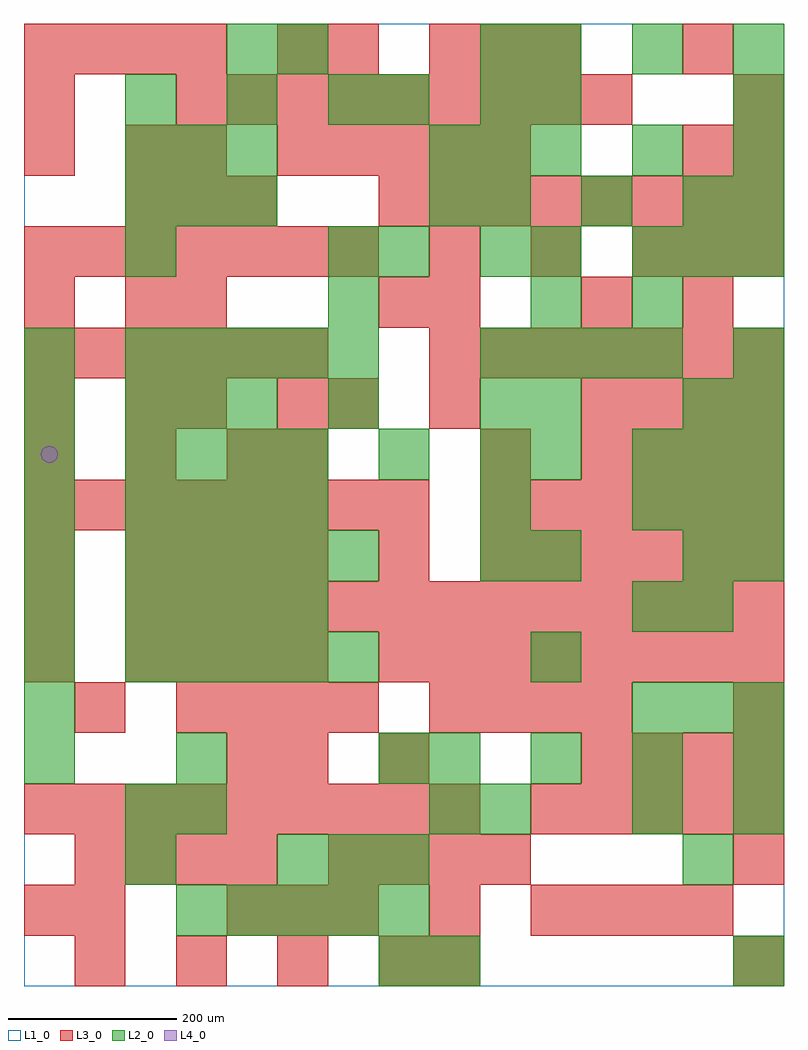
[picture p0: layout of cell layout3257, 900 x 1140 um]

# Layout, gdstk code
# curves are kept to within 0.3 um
import gdstk
lib = gdstk.Library(unit=1e-6, precision=1e-09)
def R(c, l, rs):  # rectangles x0, y0, x1, y1
    for r in rs: c.add(gdstk.rectangle(r[:2], r[2:], *l))
def A(c, l, x, y, w, h, nx, ny, dx, dy):  # array of equal rectangles
    R(c, l, [(x+i*dx, y+j*dy, x+i*dx+w, y+j*dy+h) for i in range(nx) for j in range(ny)])
def P(c, l, *ps):  # polygons
    for p in ps: c.add(gdstk.Polygon(p, *l))
L1_0 = (1, 0)
L2_0 = (2, 0)
L3_0 = (3, 0)
L4_0 = (4, 0)

layout3257 = lib.new_cell('layout3257')
R(layout3257, L1_0, [(0,0,900,1140)])
A(layout3257, L2_0, 180, 60, 60, 60, 5, 1, 60, 0)
A(layout3257, L2_0, 300, 120, 60, 60, 3, 1, 60, 0)
A(layout3257, L2_0, 0, 240, 60, 60, 1, 9, 0, 60)
A(layout3257, L2_0, 480, 240, 60, 60, 4, 1, 120, 0)
A(layout3257, L2_0, 720, 300, 60, 60, 3, 2, 60, 240)
A(layout3257, L2_0, 120, 360, 60, 60, 5, 2, 60, 120)
A(layout3257, L2_0, 600, 360, 60, 60, 1, 3, 0, 120)
A(layout3257, L2_0, 120, 420, 60, 60, 4, 2, 60, 120)
A(layout3257, L2_0, 540, 480, 60, 60, 1, 4, 0, 60)
A(layout3257, L2_0, 120, 600, 60, 60, 4, 1, 60, 0)
A(layout3257, L2_0, 720, 600, 60, 60, 3, 2, 60, 240)
A(layout3257, L2_0, 120, 660, 60, 60, 3, 2, 60, 240)
A(layout3257, L2_0, 120, 720, 60, 60, 5, 1, 60, 0)
A(layout3257, L2_0, 540, 720, 60, 60, 4, 1, 60, 0)
A(layout3257, L2_0, 540, 900, 60, 60, 3, 1, 120, 0)
A(layout3257, L2_0, 840, 900, 60, 60, 1, 3, 0, 60)
A(layout3257, L2_0, 120, 960, 60, 60, 3, 1, 60, 0)
A(layout3257, L2_0, 480, 960, 60, 60, 3, 1, 60, 0)
A(layout3257, L2_0, 120, 1020, 60, 60, 3, 1, 120, 0)
A(layout3257, L2_0, 600, 1080, 60, 60, 3, 1, 120, 0)
R(layout3257, L2_0, [(420,0,480,60), (480,0,540,60), (840,0,900,60), (120,120,180,180), (780,120,840,180), (120,180,180,240), (180,180,240,240), (480,180,540,240), (540,180,600,240), (720,180,780,240), (840,180,900,240), (180,240,240,300), (420,240,480,300), (720,420,780,480), (780,420,840,480), (780,480,840,540), (840,480,900,540), (420,600,480,660), (360,660,420,720), (600,660,660,720), (780,660,840,720), (840,660,900,720), (840,720,900,780), (360,780,420,840), (600,780,660,840), (720,780,780,840), (120,840,180,900), (360,840,420,900), (420,840,480,900), (540,840,600,900), (600,840,660,900), (480,900,540,960), (720,960,780,1020), (420,1020,480,1080), (540,1020,600,1080), (600,1020,660,1080), (240,1080,300,1140), (300,1080,360,1140), (540,1080,600,1140)])
A(layout3257, L3_0, 60, 0, 60, 60, 4, 1, 120, 0)
A(layout3257, L3_0, 240, 60, 60, 60, 3, 1, 60, 0)
A(layout3257, L3_0, 600, 60, 60, 60, 4, 1, 60, 0)
A(layout3257, L3_0, 60, 120, 60, 60, 4, 1, 60, 0)
A(layout3257, L3_0, 360, 120, 60, 60, 4, 1, 60, 0)
A(layout3257, L3_0, 0, 180, 60, 60, 9, 1, 60, 0)
A(layout3257, L3_0, 600, 180, 60, 60, 5, 1, 60, 0)
A(layout3257, L3_0, 660, 240, 60, 60, 4, 2, 60, 360)
A(layout3257, L3_0, 180, 300, 60, 60, 4, 1, 60, 0)
A(layout3257, L3_0, 480, 300, 60, 60, 4, 1, 60, 0)
A(layout3257, L3_0, 0, 360, 60, 60, 1, 3, 0, 60)
A(layout3257, L3_0, 120, 360, 60, 60, 4, 2, 60, 120)
A(layout3257, L3_0, 420, 360, 60, 60, 8, 2, 60, 540)
A(layout3257, L3_0, 120, 420, 60, 60, 13, 1, 60, 0)
A(layout3257, L3_0, 540, 480, 60, 60, 6, 2, 60, 60)
A(layout3257, L3_0, 0, 540, 60, 60, 8, 1, 60, 0)
A(layout3257, L3_0, 0, 600, 60, 60, 3, 1, 120, 0)
A(layout3257, L3_0, 660, 660, 60, 60, 4, 1, 60, 0)
A(layout3257, L3_0, 0, 720, 60, 60, 6, 1, 60, 0)
A(layout3257, L3_0, 480, 720, 60, 60, 7, 1, 60, 0)
A(layout3257, L3_0, 0, 840, 60, 60, 7, 1, 60, 0)
A(layout3257, L3_0, 480, 840, 60, 60, 3, 1, 120, 0)
A(layout3257, L3_0, 780, 840, 60, 60, 1, 3, 0, 120)
A(layout3257, L3_0, 120, 900, 60, 60, 3, 1, 60, 0)
A(layout3257, L3_0, 300, 960, 60, 60, 5, 1, 60, 0)
A(layout3257, L3_0, 180, 1020, 60, 60, 9, 1, 60, 0)
A(layout3257, L3_0, 0, 1080, 60, 60, 4, 1, 60, 0)
A(layout3257, L3_0, 480, 1080, 60, 60, 3, 1, 60, 0)
R(layout3257, L3_0, [(480,0,540,60), (840,0,900,60), (0,60,60,120), (60,60,120,120), (480,60,540,120), (840,120,900,180), (240,240,300,300), (300,240,360,300), (420,240,480,300), (60,300,120,360), (840,300,900,360), (420,480,480,540), (300,600,360,660), (540,600,600,660), (0,660,60,720), (120,660,180,720), (180,660,240,720), (300,660,360,720), (360,660,420,720), (480,660,540,720), (0,780,60,840), (120,780,180,840), (180,780,240,840), (420,780,480,840), (480,780,540,840), (660,780,720,840), (780,780,840,840), (840,840,900,900), (0,960,60,1020), (120,960,180,1020), (180,960,240,1020), (840,960,900,1020), (0,1020,60,1080), (840,1020,900,1080), (300,1080,360,1140), (360,1080,420,1140)])
P(layout3257, L4_0, [(40,630),(39.239,633.827),(37.071,637.071),(33.827,639.239),(30,640),(26.173,639.239),(22.929,637.071),(20.761,633.827),(20,630),(20.761,626.173),(22.929,622.929),(26.173,620.761),(30,620),(33.827,620.761),(37.071,622.929),(39.239,626.173)])

lib.write_gds('layout3257.gds')
